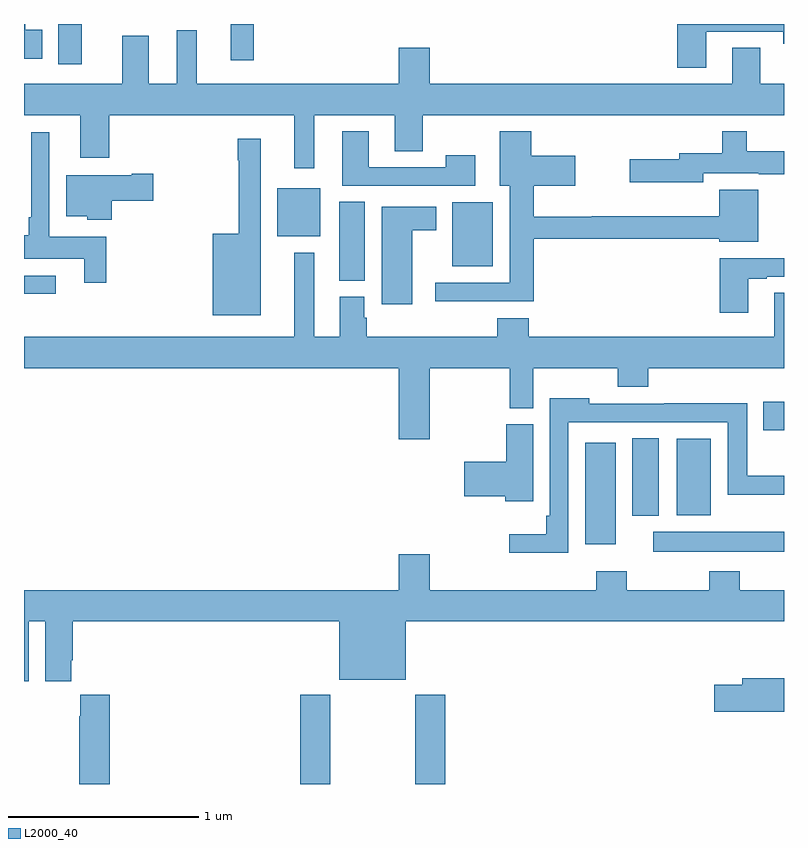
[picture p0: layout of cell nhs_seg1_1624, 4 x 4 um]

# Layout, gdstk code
import gdstk
lib = gdstk.Library(unit=1e-6, precision=1e-09)
def R(c, l, rs):  # rectangles x0, y0, x1, y1
    for r in rs: c.add(gdstk.rectangle(r[:2], r[2:], *l))
def P(c, l, *ps):  # polygons
    for p in ps: c.add(gdstk.Polygon(p, *l))
L2000_40 = (2000, 40)

nhs_seg1_1624 = lib.new_cell('nhs_seg1_1624')
R(nhs_seg1_1624, L2000_40, [(200.453,560.199,200.613,560.668), (201.058,560.199,201.218,560.668), (202.311,561.422,203,561.526), (201.953,561.462,202.114,561.994), (202.202,561.611,202.342,562.019), (202.436,561.614,202.615,562.015), (202.892,562.06,203,562.21), (199,562.779,199.168,562.875), (200.66,562.849,200.794,563.264), (201.254,562.925,201.466,563.26), (200.333,563.081,200.56,563.335), (199.181,563.988,199.303,564.199), (200.087,564.009,200.209,564.199)])
P(nhs_seg1_1624, L2000_40, [(199.096,564.169),(199.006,564.169),(199.006,564.199),(199,564.199),(199,564.017),(199.096,564.017)],
  [(202.591,564.159),(202.996,564.159),(202.996,564.096),(203,564.096),(203,564.199),(202.439,564.199),(202.439,563.97),(202.591,563.97)],
  [(200.527,563.72),(200.951,563.72),(200.951,563.53),(201.099,563.53),(201.099,563.72),(203,563.72),(203,563.884),(202.875,563.884),(202.875,564.074),(202.727,564.074),(202.727,563.884),(201.136,563.884),(201.136,564.073),(200.972,564.073),(200.972,563.884),(199.909,563.884),(199.909,564.166),(199.805,564.166),(199.805,563.884),(199.657,563.884),(199.657,564.136),(199.517,564.136),(199.517,563.884),(199,563.884),(199,563.72),(199.295,563.72),(199.295,563.496),(199.448,563.496),(199.448,563.72),(200.423,563.72),(200.423,563.439),(200.527,563.439)],
  [(201.376,563.509),(201.22,563.509),(201.22,563.445),(200.815,563.445),(200.815,563.635),(200.675,563.635),(200.675,563.349),(201.376,563.349)],
  [(202.576,563.414),(202.866,563.414),(202.866,563.408),(203,563.408),(203,563.53),(202.804,563.53),(202.804,563.635),(202.675,563.635),(202.675,563.519),(202.448,563.519),(202.448,563.488),(202.188,563.488),(202.188,563.366),(202.576,563.366)],
  [(201.683,563.068),(202.658,563.068),(202.658,563.054),(202.864,563.054),(202.864,563.326),(202.658,563.326),(202.658,563.186),(201.988,563.186),(201.988,563.185),(201.683,563.185),(201.683,563.348),(201.901,563.348),(201.901,563.506),(201.67,563.506),(201.67,563.635),(201.503,563.635),(201.503,563.348),(201.557,563.348),(201.557,562.836),(201.165,562.836),(201.165,562.739),(201.683,562.739)],
  [(199.433,563.08),(199.134,563.08),(199.134,563.629),(199.038,563.629),(199.038,563.182),(199.026,563.182),(199.026,563.086),(199,563.086),(199,562.964),(199.316,562.964),(199.316,562.836),(199.433,562.836)],
  [(200.245,563.596),(200.124,563.596),(200.124,563.483),(200.131,563.483),(200.131,563.095),(199.994,563.095),(199.994,562.667),(200.245,562.667)],
  [(199.463,563.27),(199.681,563.27),(199.681,563.412),(199.568,563.412),(199.568,563.404),(199.223,563.404),(199.223,563.186),(199.332,563.186),(199.332,563.168),(199.463,563.168)],
  [(201.043,563.114),(201.169,563.114),(201.169,563.236),(200.882,563.236),(200.882,562.724),(201.043,562.724)],
  [(201.136,562.388),(201.556,562.388),(201.556,562.177),(201.679,562.177),(201.679,562.388),(202.126,562.388),(202.126,562.289),(202.286,562.289),(202.286,562.388),(203,562.388),(203,562.784),(202.949,562.784),(202.949,562.552),(201.656,562.552),(201.656,562.651),(201.491,562.651),(201.491,562.552),(200.804,562.552),(200.804,562.653),(200.791,562.653),(200.791,562.764),(200.663,562.764),(200.663,562.552),(200.527,562.552),(200.527,562.996),(200.423,562.996),(200.423,562.552),(199,562.552),(199,562.388),(200.972,562.388),(200.972,562.014),(201.136,562.014)],
  [(202.813,562.857),(202.909,562.857),(202.909,562.869),(203,562.869),(203,562.966),(202.661,562.966),(202.661,562.68),(202.813,562.68)],
  [(201.864,562.104),(202.703,562.104),(202.703,561.722),(203,561.722),(203,561.822),(202.807,561.822),(202.807,562.202),(202.369,562.202),(202.369,562.2),(201.975,562.2),(201.975,562.228),(201.768,562.228),(201.768,561.61),(201.748,561.61),(201.748,561.514),(201.555,561.514),(201.555,561.416),(201.864,561.416)],
  [(201.679,562.092),(201.538,562.092),(201.538,561.896),(201.318,561.896),(201.318,561.713),(201.533,561.713),(201.533,561.686),(201.679,561.686)],
  [(199.024,561.056),(199.112,561.056),(199.112,560.739),(199.249,560.739),(199.249,560.851),(199.256,560.851),(199.256,561.056),(200.66,561.056),(200.66,560.747),(201.01,560.747),(201.01,561.056),(203,561.056),(203,561.22),(202.766,561.22),(202.766,561.319),(202.606,561.319),(202.606,561.22),(202.173,561.22),(202.173,561.319),(202.013,561.319),(202.013,561.22),(201.136,561.22),(201.136,561.409),(200.972,561.409),(200.972,561.22),(199,561.22),(199,560.739),(199.024,560.739)],
  [(203,560.755),(202.781,560.755),(202.781,560.721),(202.632,560.721),(202.632,560.579),(203,560.579)],
  [(199.451,560.668),(199.295,560.668),(199.295,560.555),(199.291,560.555),(199.291,560.199),(199.451,560.199)])

lib.write_gds('nhs_seg1_1624.gds')
